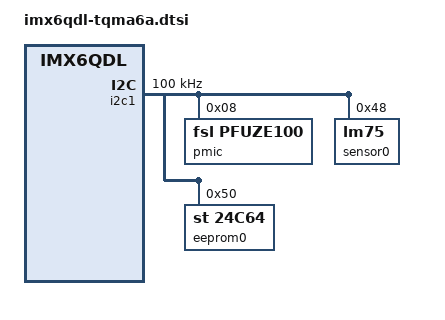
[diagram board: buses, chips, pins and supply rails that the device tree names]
// SPDX-License-Identifier: GPL-2.0+
//
// Copyright (C) 2020 TQ-Systems GmbH

&i2c1 {
	pinctrl-names = "default";
	pinctrl-0 = <&pinctrl_i2c1_tqma6>;
	clock-frequency = <100000>;
	status = "okay";

	pmic: pf0100@08 {
		compatible = "fsl,pfuze100";
		reg = <0x08>;
	};

	sensor0: lm75@48 {
		compatible = "lm75";
		reg = <0x48>;
	};

	eeprom0: m24c64@50 {
		compatible = "st,24c64", "at24";
		reg = <0x50>;
		pagesize = <32>;
	};
};

